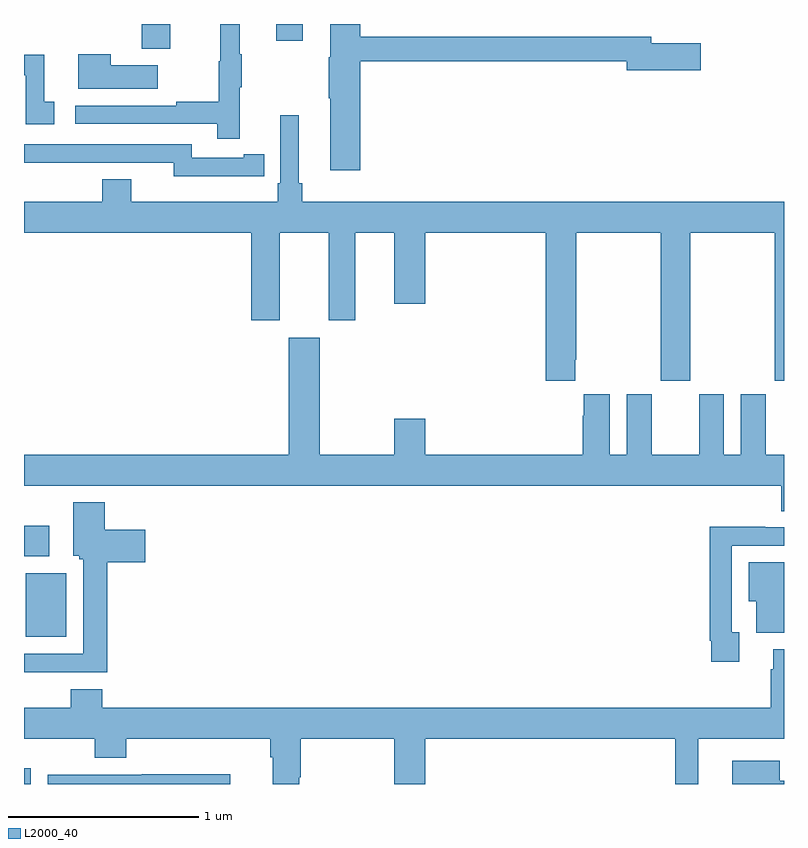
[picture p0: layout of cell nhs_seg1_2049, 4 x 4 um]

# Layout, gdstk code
import gdstk
lib = gdstk.Library(unit=1e-6, precision=1e-09)
def R(c, l, rs):  # rectangles x0, y0, x1, y1
    for r in rs: c.add(gdstk.rectangle(r[:2], r[2:], *l))
def P(c, l, *ps):  # polygons
    for p in ps: c.add(gdstk.Polygon(p, *l))
L2000_40 = (2000, 40)

nhs_seg1_2049 = lib.new_cell('nhs_seg1_2049')
R(nhs_seg1_2049, L2000_40, [(223,514.199,223.035,514.282), (223.01,514.973,223.222,515.308), (223,515.397,223.132,515.557), (223.619,518.07,223.771,518.199), (224.327,518.112,224.467,518.199)])
P(nhs_seg1_2049, L2000_40, [(224.135,517.867),(224.146,517.867),(224.146,518.041),(224.135,518.041),(224.135,518.199),(224.032,518.199),(224.032,518.004),(224.025,518.004),(224.025,517.79),(223.801,517.79),(223.801,517.77),(223.269,517.77),(223.269,517.674),(224.017,517.674),(224.017,517.596),(224.135,517.596)],
  [(224.771,518.002),(226.172,518.002),(226.172,517.955),(226.561,517.955),(226.561,518.097),(226.3,518.097),(226.3,518.131),(224.771,518.131),(224.771,518.199),(224.612,518.199),(224.612,518.025),(224.605,518.025),(224.605,517.807),(224.612,517.807),(224.612,517.428),(224.771,517.428)],
  [(223.705,517.981),(223.457,517.981),(223.457,518.041),(223.286,518.041),(223.286,517.859),(223.705,517.859)],
  [(223.159,517.791),(223.106,517.791),(223.106,518.038),(223,518.038),(223,517.929),(223.008,517.929),(223.008,517.671),(223.159,517.671)],
  [(225.901,516.433),(225.906,516.433),(225.906,517.1),(226.351,517.1),(226.351,516.321),(226.506,516.321),(226.506,517.1),(226.951,517.1),(226.951,516.321),(227,516.321),(227,517.264),(224.465,517.264),(224.465,517.36),(224.446,517.36),(224.446,517.72),(224.349,517.72),(224.349,517.36),(224.336,517.36),(224.336,517.264),(223.564,517.264),(223.564,517.381),(223.412,517.381),(223.412,517.264),(223,517.264),(223,517.1),(224.195,517.1),(224.195,516.639),(224.347,516.639),(224.347,517.1),(224.603,517.1),(224.603,516.639),(224.743,516.639),(224.743,517.1),(224.948,517.1),(224.948,516.726),(225.112,516.726),(225.112,517.1),(225.746,517.1),(225.746,516.321),(225.901,516.321)],
  [(224.156,517.398),(224.264,517.398),(224.264,517.514),(224.156,517.514),(224.156,517.494),(223.884,517.494),(223.884,517.566),(223,517.566),(223,517.469),(223.328,517.469),(223.328,517.47),(223.788,517.47),(223.788,517.397),(224.156,517.397)],
  [(227,515.932),(226.903,515.932),(226.903,516.25),(226.772,516.25),(226.772,515.932),(226.684,515.932),(226.684,516.25),(226.553,516.25),(226.553,515.932),(226.303,515.932),(226.303,516.25),(226.172,516.25),(226.172,515.932),(226.084,515.932),(226.084,516.25),(225.947,516.25),(225.947,516.137),(225.941,516.137),(225.941,515.932),(225.112,515.932),(225.112,516.121),(224.948,516.121),(224.948,515.932),(224.557,515.932),(224.557,516.547),(224.393,516.547),(224.393,515.932),(223,515.932),(223,515.768),(226.985,515.768),(226.985,515.635),(227,515.635)],
  [(223.439,515.366),(223.639,515.366),(223.639,515.536),(223.426,515.536),(223.426,515.683),(223.259,515.683),(223.259,515.4),(223.29,515.4),(223.29,515.382),(223.313,515.382),(223.313,514.884),(223,514.884),(223,514.787),(223.439,514.787)],
  [(226.765,514.998),(226.725,514.998),(226.725,515.454),(227,515.454),(227,515.55),(226.901,515.55),(226.901,515.552),(226.609,515.552),(226.609,514.954),(226.617,514.954),(226.617,514.842),(226.765,514.842)],
  [(227,515.365),(226.814,515.365),(226.814,515.162),(226.853,515.162),(226.853,514.994),(227,514.994)],
  [(224.449,514.234),(224.457,514.234),(224.457,514.436),(224.948,514.436),(224.948,514.199),(225.112,514.199),(225.112,514.436),(226.428,514.436),(226.428,514.199),(226.549,514.199),(226.549,514.436),(227,514.436),(227,514.909),(226.943,514.909),(226.943,514.802),(226.931,514.802),(226.931,514.6),(223.412,514.6),(223.412,514.699),(223.247,514.699),(223.247,514.6),(223,514.6),(223,514.436),(223.373,514.436),(223.373,514.337),(223.538,514.337),(223.538,514.436),(224.297,514.436),(224.297,514.34),(224.309,514.34),(224.309,514.199),(224.449,514.199)],
  [(227,514.216),(226.978,514.216),(226.978,514.321),(226.727,514.321),(226.727,514.199),(227,514.199)],
  [(224.085,514.25),(223.621,514.25),(223.621,514.248),(223.125,514.248),(223.125,514.199),(224.085,514.199)])

lib.write_gds('nhs_seg1_2049.gds')
